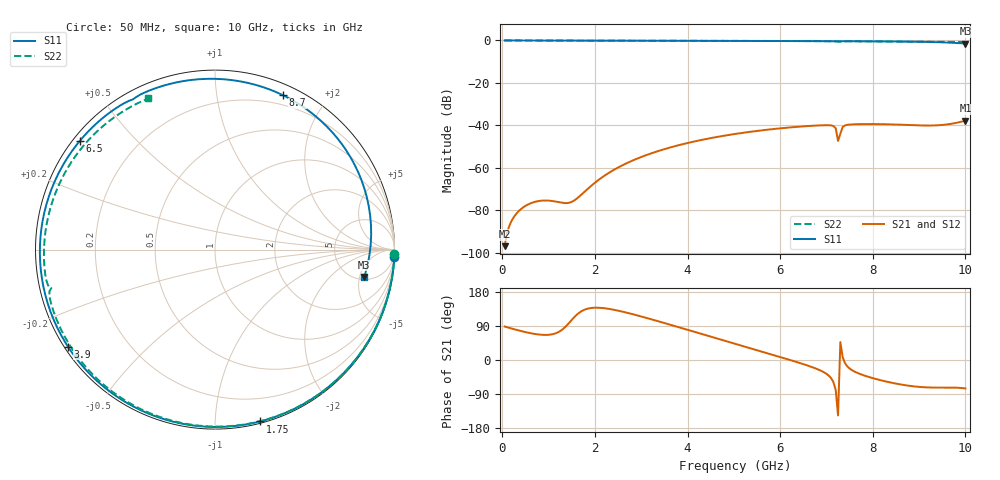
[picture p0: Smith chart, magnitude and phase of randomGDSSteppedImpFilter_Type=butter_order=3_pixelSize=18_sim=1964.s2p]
! freq	dB(S11)	phase(S11)	dB(S12)	phase(S12)
!  dB(S21)	phase(S21)	dB(S22)	phase(S22)
!S-par simulation data
#  GHz  S  DB  R 50
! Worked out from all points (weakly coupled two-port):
!   200 points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, 50 MHz to 10 GHz, reference 50 ohm
!   highest |S21| = -37.81 dB at 10 GHz (marker M1); lowest = -96.9 dB at 50 MHz (marker M2)
!   lowest |S11| = -1.5 dB at 10 GHz (marker M3), VSWR 11.95, Z = 276 - j296 ohm
!   |S11| at or under -10 dB: nowhere
!   |S22| runs from -0.7 to 0.0 dB; largest |S21 - S12| = 0
!   S11 on the Smith chart (normalised r, x): 50 MHz: 0, -50; 1.75 GHz: 0.01, -1.30; 3.9 GHz: 0.01, -0.30; 6.5 GHz: 0.02, +0.35; 8.7 GHz: 0.10, +1.53; 10 GHz: 5.52, -5.91
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0.05  -0.00 -2.3  -96.91 88.4  -96.91 88.4  -0.00 -1.2
0.35  -0.02 -15.9  -80.49 78.2  -80.49 78.2  -0.01 -8.7
0.8  -0.05 -36.0  -75.60 67.0  -75.60 67.0  -0.03 -19.7
1.45  -0.08 -63.4  -76.41 98.9  -76.41 98.9  -0.04 -35.4
1.75  -0.09 -75.2  -71.79 131.3  -71.79 131.3  -0.05 -42.6
2.45  -0.11 -100.9  -60.45 131.6  -60.45 131.6  -0.07 -59.0
3.4  -0.14 -131.8  -51.86 101.1  -51.86 101.1  -0.11 -80.7
3.9  -0.16 -146.6  -48.84 83.3  -48.84 83.3  -0.13 -91.8
5.05  -0.21 -178.7  -43.97 42.1  -43.97 42.1  -0.18 -116.9
5.75  -0.25 162.2  -41.97 17.0  -41.97 17.0  -0.22 -132.2
6.5  -0.30 141.1  -40.47 -10.8  -40.47 -10.8  -0.28 -148.9
6.7  -0.31 135.3  -40.18 -19.2  -40.18 -19.2  -0.30 -153.5
7.15  -0.36 121.7  -40.31 -58.3  -40.31 -58.3  -0.38 -164.4
7.2  -0.38 120.1  -41.38 -79.4  -41.38 -79.4  -0.43 -165.8
7.25  -0.41 118.7  -47.35 -146.3  -47.35 -146.3  -0.57 -166.8
7.35  -0.37 115.8  -40.78 7.4  -40.78 7.4  -0.43 -168.0
7.4  -0.36 114.1  -40.04 -8.2  -40.04 -8.2  -0.40 -169.4
8.35  -0.47 80.6  -39.51 -58.5  -39.51 -58.5  -0.48 165.7
8.7  -0.54 66.2  -39.77 -66.5  -39.77 -66.5  -0.53 155.9
9.35  -0.78 34.2  -40.02 -72.8  -40.02 -72.8  -0.62 136.0
9.7  -1.06 12.5  -39.24 -72.7  -39.24 -72.7  -0.68 124.3
10  -1.46 -10.4  -37.81 -75.1  -37.81 -75.1  -0.72 113.8
